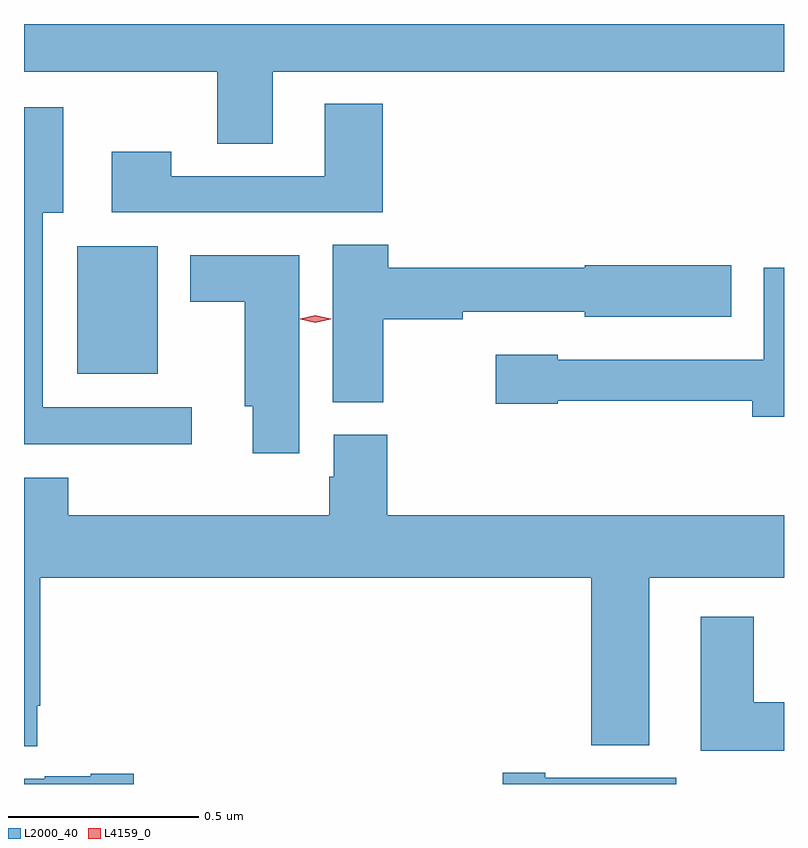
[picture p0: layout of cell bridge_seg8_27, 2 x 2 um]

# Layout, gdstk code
import gdstk
lib = gdstk.Library(unit=1e-6, precision=1e-09)
def R(c, l, rs):  # rectangles x0, y0, x1, y1
    for r in rs: c.add(gdstk.rectangle(r[:2], r[2:], *l))
def P(c, l, *ps):  # polygons
    for p in ps: c.add(gdstk.Polygon(p, *l))
L2000_40 = (2000, 40)
L4159_0 = (4159, 0)

bridge_seg8_27 = lib.new_cell('bridge_seg8_27')
R(bridge_seg8_27, L2000_40, [(1056.674,1154.333,1056.886,1154.668)])
P(bridge_seg8_27, L2000_40, [(1057.189,1155.128),(1058.534,1155.128),(1058.534,1155.253),(1056.534,1155.253),(1056.534,1155.128),(1057.042,1155.128),(1057.042,1154.938),(1057.189,1154.938)],
  [(1057.478,1155.043),(1057.325,1155.043),(1057.325,1154.853),(1056.921,1154.853),(1056.921,1154.917),(1056.765,1154.917),(1056.765,1154.757),(1057.478,1154.757)],
  [(1056.976,1154.244),(1056.583,1154.244),(1056.583,1154.756),(1056.637,1154.756),(1056.637,1155.034),(1056.534,1155.034),(1056.534,1154.147),(1056.976,1154.147)],
  [(1057.48,1154.476),(1057.688,1154.476),(1057.688,1154.496),(1058.01,1154.496),(1058.01,1154.483),(1058.395,1154.483),(1058.395,1154.618),(1058.01,1154.618),(1058.01,1154.612),(1057.493,1154.612),(1057.493,1154.672),(1057.346,1154.672),(1057.346,1154.257),(1057.48,1154.257)],
  [(1057.258,1154.644),(1056.971,1154.644),(1056.971,1154.522),(1057.115,1154.522),(1057.115,1154.247),(1057.136,1154.247),(1057.136,1154.124),(1057.258,1154.124)],
  [(1058.534,1154.612),(1058.481,1154.612),(1058.481,1154.37),(1057.938,1154.37),(1057.938,1154.383),(1057.776,1154.383),(1057.776,1154.254),(1057.938,1154.254),(1057.938,1154.262),(1058.45,1154.262),(1058.45,1154.219),(1058.534,1154.219)],
  [(1056.569,1153.459),(1056.577,1153.459),(1056.577,1153.796),(1058.027,1153.796),(1058.027,1153.355),(1058.179,1153.355),(1058.179,1153.796),(1058.534,1153.796),(1058.534,1153.96),(1057.49,1153.96),(1057.49,1154.172),(1057.349,1154.172),(1057.349,1154.061),(1057.337,1154.061),(1057.337,1153.96),(1056.65,1153.96),(1056.65,1154.059),(1056.534,1154.059),(1056.534,1153.352),(1056.569,1153.352)],
  [(1058.534,1153.468),(1058.455,1153.468),(1058.455,1153.693),(1058.315,1153.693),(1058.315,1153.34),(1058.534,1153.34)],
  [(1058.251,1153.27),(1057.906,1153.27),(1057.906,1153.283),(1057.794,1153.283),(1057.794,1153.253),(1058.251,1153.253)],
  [(1056.823,1153.28),(1056.71,1153.28),(1056.71,1153.273),(1056.588,1153.273),(1056.588,1153.267),(1056.534,1153.267),(1056.534,1153.253),(1056.823,1153.253)])
P(bridge_seg8_27, L4159_0, [(1057.301,1154.467),(1057.261,1154.476),(1057.261,1154.477),(1057.261,1154.477),(1057.301,1154.487),(1057.341,1154.477),(1057.342,1154.477),(1057.341,1154.476)])

lib.write_gds('bridge_seg8_27.gds')
